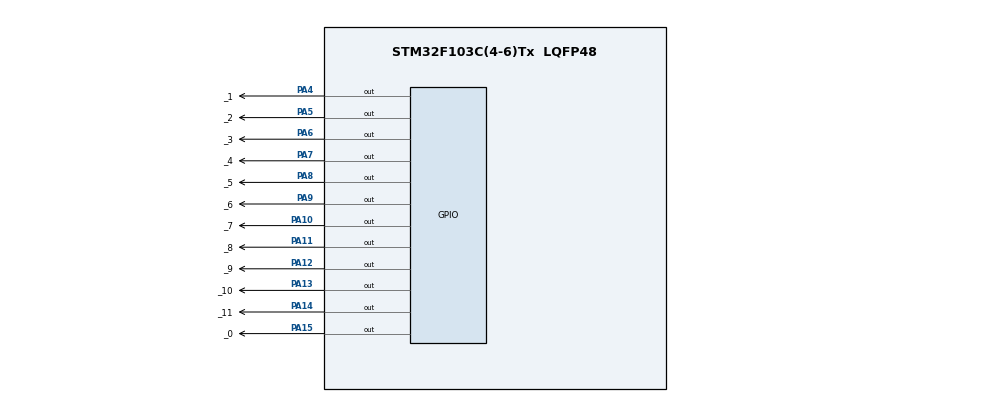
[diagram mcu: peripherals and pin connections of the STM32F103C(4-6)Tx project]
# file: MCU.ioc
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Mcu.Family=STM32F1
Mcu.Name=STM32F103C(4-6)Tx
Mcu.Package=LQFP48
NVIC.PriorityGroup=NVIC_PRIORITYGROUP_4
PA10.GPIO_Label=_7
PA10.Signal=GPIO_Output
PA11.GPIO_Label=_8
PA11.Signal=GPIO_Output
PA12.GPIO_Label=_9
PA12.Signal=GPIO_Output
PA13.GPIO_Label=_10
PA13.Signal=GPIO_Output
PA14.GPIO_Label=_11
PA14.Signal=GPIO_Output
PA15.GPIO_Label=_0
PA15.Signal=GPIO_Output
PA4.GPIO_Label=_1
PA4.Signal=GPIO_Output
PA5.GPIO_Label=_2
PA5.Signal=GPIO_Output
PA6.GPIO_Label=_3
PA6.Signal=GPIO_Output
PA7.GPIO_Label=_4
PA7.Signal=GPIO_Output
PA8.GPIO_Label=_5
PA8.Signal=GPIO_Output
PA9.GPIO_Label=_6
PA9.Signal=GPIO_Output
ProjectManager.HeapSize=0x200
ProjectManager.StackSize=0x400
ProjectManager.TargetToolchain=STM32CubeIDE
RCC.APB1Freq_Value=8000000
RCC.APB2Freq_Value=8000000
board=custom

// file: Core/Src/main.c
/* USER CODE BEGIN Header */
/**
  ******************************************************************************
  * @file           : main.c
  * @brief          : Main program body
  ******************************************************************************
  * @attention
  *
  * Copyright (c) 2022 STMicroelectronics.
  * All rights reserved.
  *
  * This software is licensed under terms that can be found in the LICENSE file
  * in the root directory of this software component.
  * If no LICENSE file comes with this software, it is provided AS-IS.
  *
  ******************************************************************************
  */
/* USER CODE END Header */
#include "main.h"

void SystemClock_Config(void);
static void MX_GPIO_Init(void);

/* USER CODE BEGIN 0 */
void setNumberOnClock(int num) {
	switch (num) {
	case 0:
		HAL_GPIO_WritePin(_0_GPIO_Port, _0_Pin, GPIO_PIN_RESET);
		break;
	case 1:
		HAL_GPIO_WritePin(_1_GPIO_Port, _1_Pin, GPIO_PIN_RESET);
		break;
	case 2:
		HAL_GPIO_WritePin(_2_GPIO_Port, _2_Pin, GPIO_PIN_RESET);
		break;
	case 3:
		HAL_GPIO_WritePin(_3_GPIO_Port, _3_Pin, GPIO_PIN_RESET);
		break;
	case 4:
		HAL_GPIO_WritePin(_4_GPIO_Port, _4_Pin, GPIO_PIN_RESET);
		break;
	case 5:
		HAL_GPIO_WritePin(_5_GPIO_Port, _5_Pin, GPIO_PIN_RESET);
		break;
	case 6:
		HAL_GPIO_WritePin(_6_GPIO_Port, _6_Pin, GPIO_PIN_RESET);
		break;
	case 7:
		HAL_GPIO_WritePin(_7_GPIO_Port, _7_Pin, GPIO_PIN_RESET);
		break;
	case 8:
		HAL_GPIO_WritePin(_8_GPIO_Port, _8_Pin, GPIO_PIN_RESET);
		break;
	case 9:
		HAL_GPIO_WritePin(_9_GPIO_Port, _9_Pin, GPIO_PIN_RESET);
		break;
	case 10:
		HAL_GPIO_WritePin(_10_GPIO_Port, _10_Pin, GPIO_PIN_RESET);
		break;
	case 11:
		HAL_GPIO_WritePin(_11_GPIO_Port, _11_Pin, GPIO_PIN_RESET);
		break;
	default:
		HAL_GPIO_WritePin(_11_GPIO_Port, _11_Pin, GPIO_PIN_SET);
		break;
	}
}

void clearAllClock() {
	HAL_GPIO_WritePin(_0_GPIO_Port, _0_Pin, GPIO_PIN_SET);
	HAL_GPIO_WritePin(_1_GPIO_Port, _1_Pin, GPIO_PIN_SET);
	HAL_GPIO_WritePin(_2_GPIO_Port, _2_Pin, GPIO_PIN_SET);
	HAL_GPIO_WritePin(_3_GPIO_Port, _3_Pin, GPIO_PIN_SET);
	HAL_GPIO_WritePin(_4_GPIO_Port, _4_Pin, GPIO_PIN_SET);
	HAL_GPIO_WritePin(_5_GPIO_Port, _5_Pin, GPIO_PIN_SET);
	HAL_GPIO_WritePin(_6_GPIO_Port, _6_Pin, GPIO_PIN_SET);
	HAL_GPIO_WritePin(_7_GPIO_Port, _7_Pin, GPIO_PIN_SET);
	HAL_GPIO_WritePin(_8_GPIO_Port, _8_Pin, GPIO_PIN_SET);
	HAL_GPIO_WritePin(_9_GPIO_Port, _9_Pin, GPIO_PIN_SET);
	HAL_GPIO_WritePin(_10_GPIO_Port, _10_Pin, GPIO_PIN_SET);
	HAL_GPIO_WritePin(_11_GPIO_Port, _11_Pin, GPIO_PIN_SET);
}

void clearNumberOnClock(int num) {
	switch (num) {
		case 0:
			HAL_GPIO_WritePin(_0_GPIO_Port, _0_Pin, GPIO_PIN_SET);
			break;
		case 1:
			HAL_GPIO_WritePin(_1_GPIO_Port, _1_Pin, GPIO_PIN_SET);
			break;
		case 2:
			HAL_GPIO_WritePin(_2_GPIO_Port, _2_Pin, GPIO_PIN_SET);
			break;
		case 3:
			HAL_GPIO_WritePin(_3_GPIO_Port, _3_Pin, GPIO_PIN_SET);
			break;
		case 4:
			HAL_GPIO_WritePin(_4_GPIO_Port, _4_Pin, GPIO_PIN_SET);
			break;
		case 5:
			HAL_GPIO_WritePin(_5_GPIO_Port, _5_Pin, GPIO_PIN_SET);
			break;
		case 6:
			HAL_GPIO_WritePin(_6_GPIO_Port, _6_Pin, GPIO_PIN_SET);
			break;
		case 7:
			HAL_GPIO_WritePin(_7_GPIO_Port, _7_Pin, GPIO_PIN_SET);
			break;
		case 8:
			HAL_GPIO_WritePin(_8_GPIO_Port, _8_Pin, GPIO_PIN_SET);
			break;
		case 9:
			HAL_GPIO_WritePin(_9_GPIO_Port, _9_Pin, GPIO_PIN_SET);
			break;
		case 10:
			HAL_GPIO_WritePin(_10_GPIO_Port, _10_Pin, GPIO_PIN_SET);
			break;
		case 11:
			HAL_GPIO_WritePin(_11_GPIO_Port, _11_Pin, GPIO_PIN_SET);
			break;
		default:
			HAL_GPIO_WritePin(_11_GPIO_Port, _11_Pin, GPIO_PIN_SET);
			break;
		}
}

void setAllClock() {
	HAL_GPIO_WritePin(_0_GPIO_Port, _0_Pin, GPIO_PIN_RESET);
	HAL_GPIO_WritePin(_1_GPIO_Port, _1_Pin, GPIO_PIN_RESET);
	HAL_GPIO_WritePin(_2_GPIO_Port, _2_Pin, GPIO_PIN_RESET);
	HAL_GPIO_WritePin(_3_GPIO_Port, _3_Pin, GPIO_PIN_RESET);
	HAL_GPIO_WritePin(_4_GPIO_Port, _4_Pin, GPIO_PIN_RESET);
	HAL_GPIO_WritePin(_5_GPIO_Port, _5_Pin, GPIO_PIN_RESET);
	HAL_GPIO_WritePin(_6_GPIO_Port, _6_Pin, GPIO_PIN_RESET);
 	HAL_GPIO_WritePin(_7_GPIO_Port, _7_Pin, GPIO_PIN_RESET);
  	HAL_GPIO_WritePin(_8_GPIO_Port, _8_Pin, GPIO_PIN_RESET);
  	HAL_GPIO_WritePin(_9_GPIO_Port, _9_Pin, GPIO_PIN_RESET);
  	HAL_GPIO_WritePin(_10_GPIO_Port, _10_Pin, GPIO_PIN_RESET);
 	HAL_GPIO_WritePin(_11_GPIO_Port, _11_Pin, GPIO_PIN_RESET);
}
/* USER CODE END 0 */

int main(void)
{

  /* MCU Configuration--------------------------------------------------------*/

  /* Reset of all peripherals, Initializes the Flash interface and the Systick. */
  HAL_Init();

  /* Configure the system clock */
  SystemClock_Config();

  /* Initialize all configured peripherals */
  MX_GPIO_Init();
  /* USER CODE BEGIN 2 */
  clearAllClock();
  int sec = 0, min = 0;
  int ledSec = 0, ledMin = 0, ledHour = 0;
  /* USER CODE END 2 */

  /* Infinite loop */
  /* USER CODE BEGIN WHILE */
  while (1) {
    	clearAllClock();
    	if (ledSec==0 || ledMin==0 || ledHour==0)
    		setNumberOnClock(0);
    	if (ledSec==1 || ledMin==1 || ledHour==1)
    	    setNumberOnClock(1);
    	if (ledSec==2 || ledMin==2 || ledHour==2)
    	    setNumberOnClock(2);
    	if (ledSec==3 || ledMin==3 || ledHour==3)
    	    setNumberOnClock(3);
    	if (ledSec==4 || ledMin==4 || ledHour==4)
    	    setNumberOnClock(4);
    	if (ledSec==5 || ledMin==5 || ledHour==5)
    	    setNumberOnClock(5);
    	if (ledSec==6 || ledMin==6 || ledHour==6)
    	    setNumberOnClock(6);
    	if (ledSec==7 || ledMin==7 || ledHour==7)
    	    setNumberOnClock(7);
    	if (ledSec==8 || ledMin==8 || ledHour==8)
    	    setNumberOnClock(8);
    	if (ledSec==9 || ledMin==9 || ledHour==9)
    	    setNumberOnClock(9);
    	if (ledSec==10 || ledMin==10 || ledHour==10)
    	    setNumberOnClock(10);
    	if (ledSec==11 || ledMin==11 || ledHour==11)
    	    setNumberOnClock(11);

    	sec++;
    	if (sec%5==0)	ledSec++;
    	ledSec = ledSec%12;
    	if (sec==60) {
    		min++;
    		sec = 0;
    		if (min%5==0)	ledMin++;
    		ledMin = ledMin%12;
    		if (min==60) {
    			ledHour++;
    			ledHour = ledHour%12;
   	    		min = 0;
 		   	}
    	}

    	HAL_Delay(100);
    /* USER CODE END WHILE */

    }
}

void SystemClock_Config(void)
{
  RCC_OscInitTypeDef RCC_OscInitStruct = {0};
  RCC_ClkInitTypeDef RCC_ClkInitStruct = {0};

  /** Initializes the RCC Oscillators according to the specified parameters
  * in the RCC_OscInitTypeDef structure.
  */
  RCC_OscInitStruct.OscillatorType = RCC_OSCILLATORTYPE_HSI;
  RCC_OscInitStruct.HSIState = RCC_HSI_ON;
  RCC_OscInitStruct.HSICalibrationValue = RCC_HSICALIBRATION_DEFAULT;
  RCC_OscInitStruct.PLL.PLLState = RCC_PLL_NONE;
  if (HAL_RCC_OscConfig(&RCC_OscInitStruct) != HAL_OK)
  {
    Error_Handler();
  }

  /** Initializes the CPU, AHB and APB buses clocks
  */
  RCC_ClkInitStruct.ClockType = RCC_CLOCKTYPE_HCLK|RCC_CLOCKTYPE_SYSCLK
                              |RCC_CLOCKTYPE_PCLK1|RCC_CLOCKTYPE_PCLK2;
  RCC_ClkInitStruct.SYSCLKSource = RCC_SYSCLKSOURCE_HSI;
  RCC_ClkInitStruct.AHBCLKDivider = RCC_SYSCLK_DIV1;
  RCC_ClkInitStruct.APB1CLKDivider = RCC_HCLK_DIV1;
  RCC_ClkInitStruct.APB2CLKDivider = RCC_HCLK_DIV1;

  if (HAL_RCC_ClockConfig(&RCC_ClkInitStruct, FLASH_LATENCY_0) != HAL_OK)
  {
    Error_Handler();
  }
}

static void MX_GPIO_Init(void)
{
  GPIO_InitTypeDef GPIO_InitStruct = {0};

  /* GPIO Ports Clock Enable */
  __HAL_RCC_GPIOA_CLK_ENABLE();

  /*Configure GPIO pin Output Level */
  HAL_GPIO_WritePin(GPIOA, _1_Pin|_2_Pin|_3_Pin|_4_Pin
                          |_5_Pin|_6_Pin|_7_Pin|_8_Pin
                          |_9_Pin|_10_Pin|_11_Pin|_0_Pin, GPIO_PIN_RESET);

  /*Configure GPIO pins : _1_Pin _2_Pin _3_Pin _4_Pin
                           _5_Pin _6_Pin _7_Pin _8_Pin
                           _9_Pin _10_Pin _11_Pin _0_Pin */
  GPIO_InitStruct.Pin = _1_Pin|_2_Pin|_3_Pin|_4_Pin
                          |_5_Pin|_6_Pin|_7_Pin|_8_Pin
                          |_9_Pin|_10_Pin|_11_Pin|_0_Pin;
  GPIO_InitStruct.Mode = GPIO_MODE_OUTPUT_PP;
  GPIO_InitStruct.Pull = GPIO_NOPULL;
  GPIO_InitStruct.Speed = GPIO_SPEED_FREQ_LOW;
  HAL_GPIO_Init(GPIOA, &GPIO_InitStruct);

}

void Error_Handler(void)
{
  __disable_irq();
  while (1)
  {
  }
}
